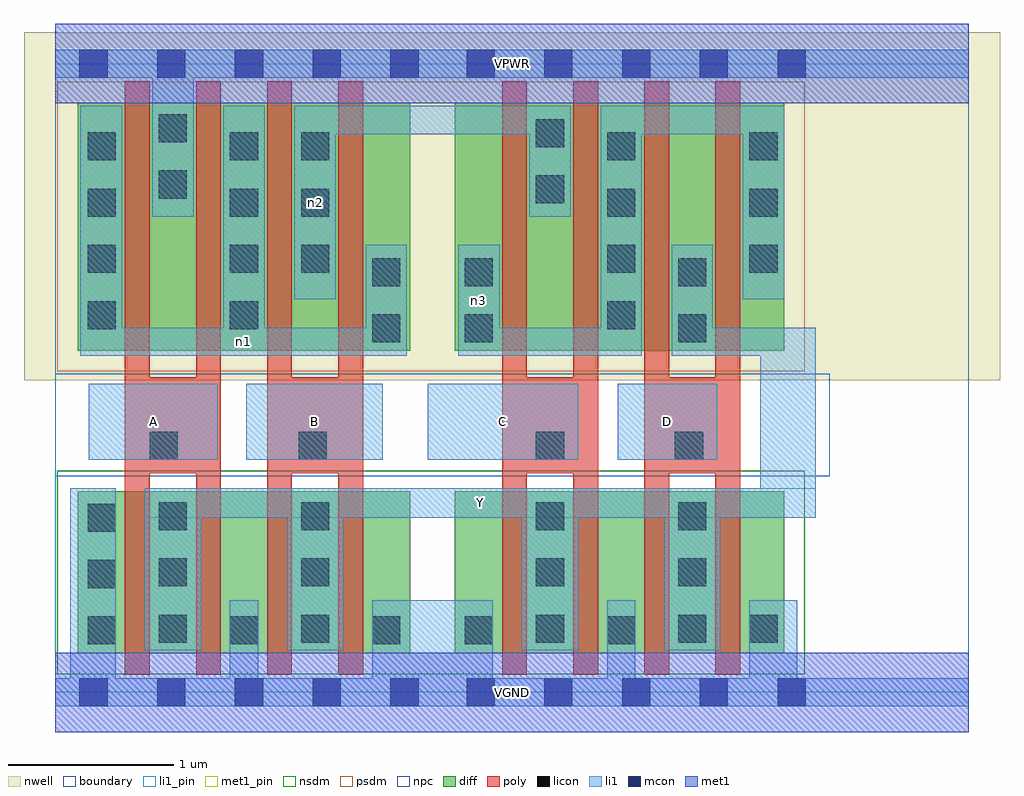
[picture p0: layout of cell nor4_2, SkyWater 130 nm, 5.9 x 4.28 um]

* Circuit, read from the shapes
.subckt nor4_2 A B C D VGND VPWR Y n1 n2 n3
XM1 Y A VGND VSUBS sky130_fd_pr__nfet_01v8 w=0.98 l=0.15 m=2
XM2 Y B VGND VSUBS sky130_fd_pr__nfet_01v8 w=0.98 l=0.15 m=2
XM3 Y C VGND VSUBS sky130_fd_pr__nfet_01v8 w=0.98 l=0.15 m=2
XM4 Y D VGND VSUBS sky130_fd_pr__nfet_01v8 w=0.98 l=0.15 m=2
XM5 VPWR A n1 n4 sky130_fd_pr__pfet_01v8 w=1.5 l=0.15 m=2
XM6 n2 B n1 n4 sky130_fd_pr__pfet_01v8 w=1.5 l=0.15 m=2
XM7 n2 C n3 n4 sky130_fd_pr__pfet_01v8 w=1.5 l=0.15 m=2
XM8 Y D n3 n4 sky130_fd_pr__pfet_01v8 w=1.5 l=0.15 m=2
.ends

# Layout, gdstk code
import gdstk
lib = gdstk.Library(unit=1e-6, precision=1e-09)
def R(c, l, rs):  # rectangles x0, y0, x1, y1
    for r in rs: c.add(gdstk.rectangle(r[:2], r[2:], *l))
def A(c, l, x, y, w, h, nx, ny, dx, dy):  # array of equal rectangles
    R(c, l, [(x+i*dx, y+j*dy, x+i*dx+w, y+j*dy+h) for i in range(nx) for j in range(ny)])
nwell = (64, 20)
diff = (65, 20)
poly = (66, 20)
licon = (66, 44)
li1_pin = (67, 16)
li1 = (67, 20)
mcon = (67, 44)
met1_pin = (68, 16)
met1 = (68, 20)
nsdm = (93, 44)
psdm = (94, 20)
npc = (95, 20)
boundary = (235, 4)

nor4_2 = lib.new_cell('nor4_2')
R(nor4_2, nwell, [(-0.19,1.885,5.71,3.99), (0,1.885,5.52,3.99)])
R(nor4_2, diff, [(0.135,0.235,2.145,1.215), (2.415,0.235,4.405,1.215), (0.135,2.065,2.145,3.565), (2.415,2.065,4.405,3.565)])
A(nor4_2, poly, 0.42, 0.105, 0.15, 3.59, 4, 1, 0.43, 0)
A(nor4_2, poly, 2.7, 0.105, 0.15, 3.59, 4, 1, 0.43, 0)
R(nor4_2, poly, [(0.42,1.325,1,1.905), (1.28,1.325,1.86,1.905), (2.7,1.325,3.28,1.905), (3.56,1.325,4.14,1.905)])
A(nor4_2, licon, 0.195, 0.29, 0.17, 0.17, 3, 1, 0.86, 0)
A(nor4_2, licon, 0.625, 0.3, 0.17, 0.17, 1, 3, 0, 0.34)
A(nor4_2, licon, 1.485, 0.3, 0.17, 0.17, 1, 3, 0, 0.34)
A(nor4_2, licon, 2.905, 0.3, 0.17, 0.17, 1, 3, 0, 0.34)
A(nor4_2, licon, 3.765, 0.3, 0.17, 0.17, 1, 3, 0, 0.34)
A(nor4_2, licon, 0.195, 2.195, 0.17, 0.17, 1, 4, 0, 0.34)
A(nor4_2, licon, 1.055, 2.195, 0.17, 0.17, 1, 4, 0, 0.34)
A(nor4_2, licon, 3.335, 2.195, 0.17, 0.17, 1, 4, 0, 0.34)
A(nor4_2, licon, 1.485, 2.535, 0.17, 0.17, 1, 3, 0, 0.34)
A(nor4_2, licon, 4.195, 2.535, 0.17, 0.17, 1, 3, 0, 0.34)
R(nor4_2, licon, [(2.475,0.29,2.645,0.46), (3.335,0.29,3.505,0.46), (4.195,0.3,4.365,0.47), (0.195,0.63,0.365,0.8), (0.195,0.97,0.365,1.14), (0.57,1.405,0.74,1.575), (1.47,1.405,1.64,1.575), (2.905,1.405,3.075,1.575), (3.745,1.405,3.915,1.575), (1.915,2.115,2.085,2.285), (2.475,2.115,2.645,2.285), (3.765,2.115,3.935,2.285), (1.915,2.455,2.085,2.625), (2.475,2.455,2.645,2.625), (3.765,2.455,3.935,2.625), (2.905,2.955,3.075,3.125), (0.625,2.985,0.795,3.155), (2.905,3.295,3.075,3.465), (0.625,3.325,0.795,3.495)])
R(nor4_2, li1_pin, [(0.54,1.055,4.595,1.235), (0.2,1.405,0.98,1.865), (1.155,1.405,1.98,1.865), (2.25,1.405,3.16,1.865), (3.4,1.405,4,1.865)])
R(nor4_2, li1, [(0,-0.085,5.52,0.085), (0.09,-0.085,0.365,1.235), (1.055,-0.085,1.225,0.555), (1.915,-0.085,2.645,0.555), (3.335,-0.085,3.505,0.555), (4.195,-0.085,4.485,0.555), (0.54,0.255,0.88,1.235), (1.4,0.255,1.74,1.235), (2.82,0.255,3.16,1.235), (3.68,0.255,4.02,1.235), (0.54,1.055,4.595,1.235), (4.26,1.055,4.595,2.205), (0.2,1.405,0.98,1.865), (1.155,1.405,1.98,1.865), (2.25,1.405,3.16,1.865), (3.4,1.405,4,1.865), (0.15,2.035,2.125,2.205), (0.15,2.035,0.405,3.545), (1.015,2.035,1.265,3.545), (1.875,2.035,2.125,2.705), (2.435,2.035,2.685,2.705), (2.435,2.035,3.545,2.205), (3.295,2.035,3.545,3.545), (3.725,2.035,3.975,2.705), (3.725,2.035,4.595,2.205), (1.445,2.375,1.695,3.545), (4.155,2.375,4.405,3.545), (0.585,2.875,0.835,3.885), (2.865,2.875,3.115,3.545), (1.445,3.375,3.115,3.545), (3.295,3.375,4.405,3.545), (0,3.715,5.52,3.885)])
A(nor4_2, mcon, 0.145, -0.085, 0.17, 0.17, 5, 2, 0.47, 3.8)
A(nor4_2, mcon, 2.485, -0.085, 0.17, 0.17, 5, 2, 0.47, 3.8)
R(nor4_2, met1_pin, [(0,-0.24,5.52,0.24), (0,3.56,5.52,4.04)])
R(nor4_2, met1, [(0,-0.24,5.52,0.24), (0,3.56,5.52,4.04)])
R(nor4_2, nsdm, [(0.01,0.11,4.53,1.34)])
R(nor4_2, psdm, [(0.01,1.94,4.53,3.69)])
R(nor4_2, npc, [(0,1.305,4.68,1.925)])
R(nor4_2, boundary, [(0,0,5.52,3.8)])
nor4_2.add(gdstk.Label('A', (0.59,1.635), layer=67, texttype=5))
nor4_2.add(gdstk.Label('B', (1.567,1.635), layer=67, texttype=5))
nor4_2.add(gdstk.Label('C', (2.705,1.635), layer=67, texttype=5))
nor4_2.add(gdstk.Label('D', (3.7,1.635), layer=67, texttype=5))
nor4_2.add(gdstk.Label('Y', (2.567,1.145), layer=67, texttype=5))
nor4_2.add(gdstk.Label('n1', (1.137,2.12), layer=67, texttype=5))
nor4_2.add(gdstk.Label('n2', (1.57,2.96), layer=67, texttype=5))
nor4_2.add(gdstk.Label('n3', (2.56,2.37), layer=67, texttype=5))
nor4_2.add(gdstk.Label('VPWR', (2.76,3.8), layer=68, texttype=5))
nor4_2.add(gdstk.Label('VGND', (2.76,0), layer=68, texttype=5))
nor4_2.add(gdstk.Label('A', (0.59,1.635), layer=67, texttype=16))
nor4_2.add(gdstk.Label('B', (1.567,1.635), layer=67, texttype=16))
nor4_2.add(gdstk.Label('C', (2.705,1.635), layer=67, texttype=16))
nor4_2.add(gdstk.Label('D', (3.7,1.635), layer=67, texttype=16))
nor4_2.add(gdstk.Label('Y', (2.567,1.145), layer=67, texttype=16))
nor4_2.add(gdstk.Label('VPWR', (2.76,3.8), layer=68, texttype=16))
nor4_2.add(gdstk.Label('VGND', (2.76,0), layer=68, texttype=16))

lib.write_gds('nor4_2.gds')
